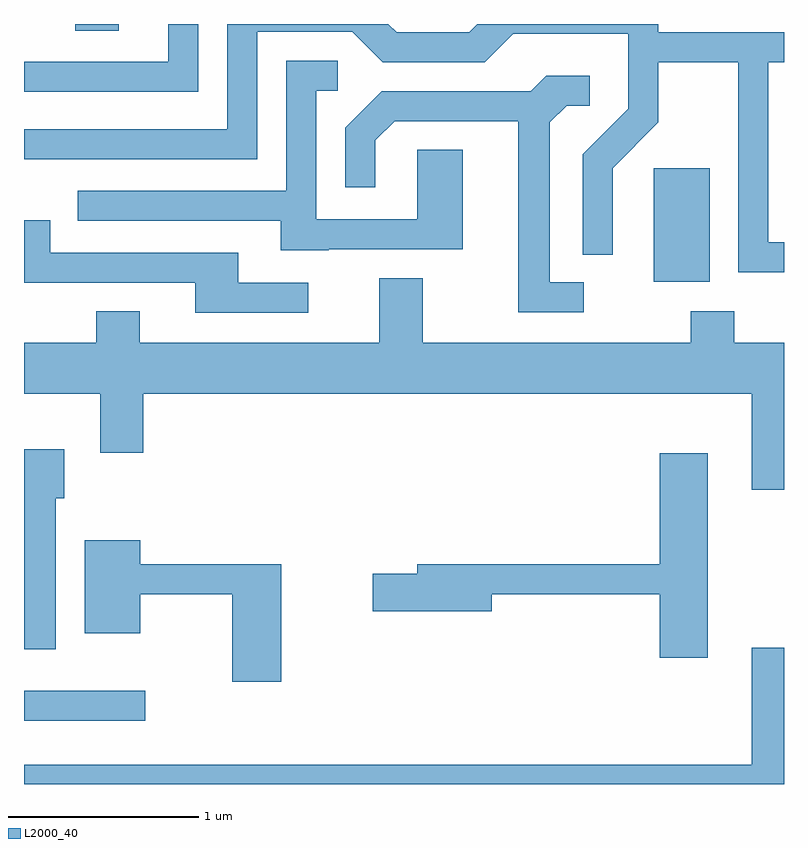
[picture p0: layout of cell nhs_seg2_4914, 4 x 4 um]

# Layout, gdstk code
import gdstk
lib = gdstk.Library(unit=1e-6, precision=1e-09)
def R(c, l, rs):  # rectangles x0, y0, x1, y1
    for r in rs: c.add(gdstk.rectangle(r[:2], r[2:], *l))
def P(c, l, *ps):  # polygons
    for p in ps: c.add(gdstk.Polygon(p, *l))
L2000_40 = (2000, 40)

nhs_seg2_4914 = lib.new_cell('nhs_seg2_4914')
R(nhs_seg2_4914, L2000_40, [(329.611,1062.136,330.248,1062.294), (332.926,1064.446,333.219,1065.044), (329.881,1065.766,330.109,1065.802)])
P(nhs_seg2_4914, L2000_40, [(330.529,1065.802),(330.371,1065.802),(330.371,1065.604),(329.611,1065.604),(329.611,1065.446),(330.529,1065.446)],
  [(333.611,1064.654),(333.529,1064.654),(333.529,1065.601),(333.611,1065.601),(333.611,1065.759),(332.949,1065.759),(332.949,1065.802),(331.997,1065.802),(331.954,1065.759),(331.572,1065.759),(331.529,1065.802),(330.681,1065.802),(330.681,1065.249),(329.611,1065.249),(329.611,1065.091),(330.839,1065.091),(330.839,1065.761),(331.339,1065.761),(331.499,1065.601),(332.037,1065.601),(332.187,1065.751),(332.791,1065.751),(332.791,1065.357),(332.551,1065.117),(332.551,1064.588),(332.709,1064.588),(332.709,1065.044),(332.949,1065.284),(332.949,1065.601),(333.371,1065.601),(333.371,1064.496),(333.611,1064.496)],
  [(331.215,1064.616),(331.919,1064.616),(331.919,1065.139),(331.681,1065.139),(331.681,1064.774),(331.149,1064.774),(331.149,1065.451),(331.263,1065.451),(331.263,1065.609),(330.991,1065.609),(330.991,1064.924),(329.893,1064.924),(329.893,1064.766),(330.961,1064.766),(330.961,1064.611),(331.215,1064.611)],
  [(332.558,1064.444),(332.379,1064.444),(332.379,1065.284),(332.467,1065.371),(332.588,1065.371),(332.588,1065.529),(332.359,1065.529),(332.279,1065.449),(331.494,1065.449),(331.301,1065.257),(331.301,1064.943),(331.459,1064.943),(331.459,1065.189),(331.562,1065.291),(332.211,1065.291),(332.211,1064.286),(332.558,1064.286)],
  [(331.108,1064.439),(330.739,1064.439),(330.739,1064.599),(329.749,1064.599),(329.749,1064.769),(329.611,1064.769),(329.611,1064.441),(330.511,1064.441),(330.511,1064.281),(331.108,1064.281)],
  [(333.611,1064.124),(333.349,1064.124),(333.349,1064.289),(333.121,1064.289),(333.121,1064.124),(331.709,1064.124),(331.709,1064.464),(331.481,1064.464),(331.481,1064.124),(330.219,1064.124),(330.219,1064.289),(329.991,1064.289),(329.991,1064.124),(329.611,1064.124),(329.611,1063.856),(330.011,1063.856),(330.011,1063.546),(330.239,1063.546),(330.239,1063.856),(333.441,1063.856),(333.441,1063.351),(333.611,1063.351)],
  [(329.779,1063.306),(329.824,1063.306),(329.824,1063.564),(329.611,1063.564),(329.611,1062.511),(329.779,1062.511)],
  [(333.209,1063.544),(332.956,1063.544),(332.956,1062.959),(331.681,1062.959),(331.681,1062.909),(331.446,1062.909),(331.446,1062.711),(332.074,1062.711),(332.074,1062.801),(332.956,1062.801),(332.956,1062.466),(333.209,1062.466)],
  [(330.964,1062.959),(330.224,1062.959),(330.224,1063.084),(329.931,1063.084),(329.931,1062.596),(330.224,1062.596),(330.224,1062.801),(330.706,1062.801),(330.706,1062.341),(330.964,1062.341)],
  [(333.611,1062.519),(333.441,1062.519),(333.441,1061.904),(329.611,1061.904),(329.611,1061.802),(333.611,1061.802)])

lib.write_gds('nhs_seg2_4914.gds')
